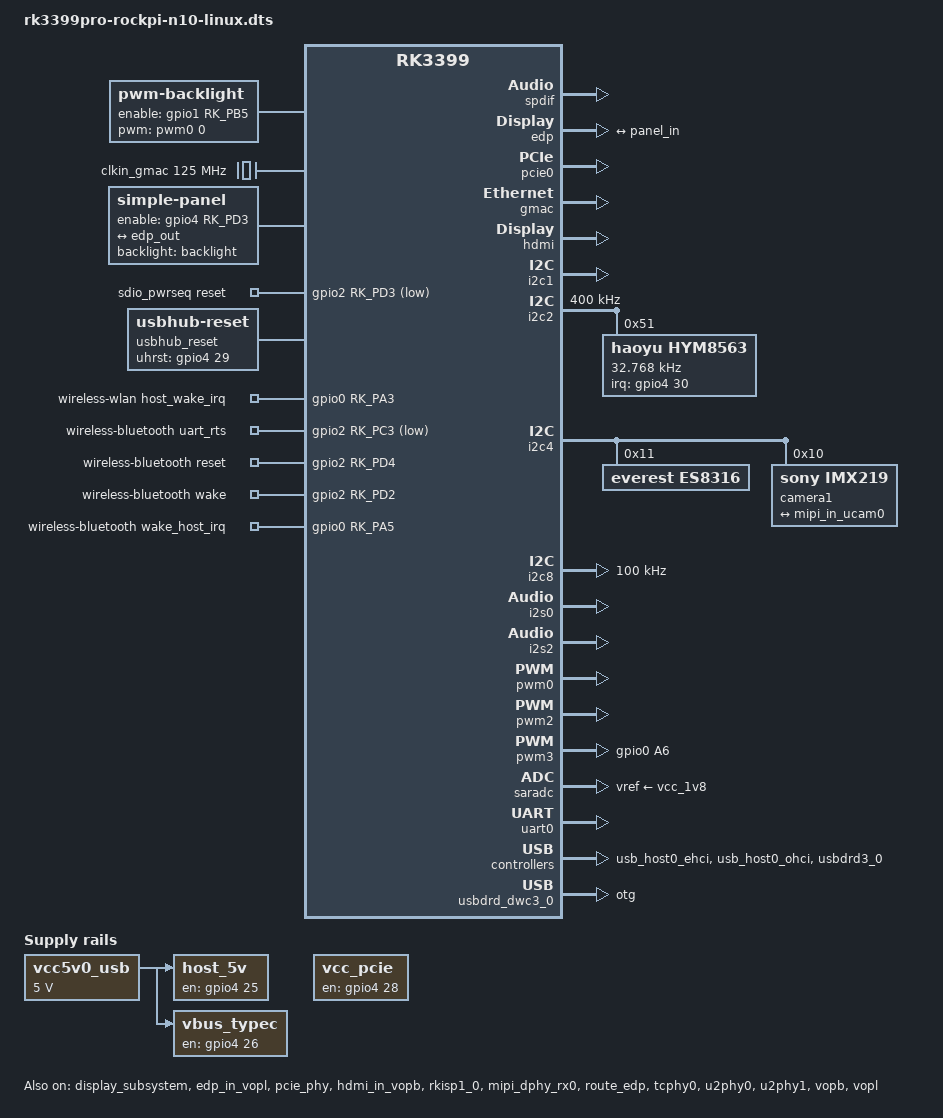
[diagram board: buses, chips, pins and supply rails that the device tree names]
// SPDX-License-Identifier: (GPL-2.0+ OR MIT)
// Copyright (c) 2018 Fuzhou Rockchip Electronics Co., Ltd

/dts-v1/;
#include "rk3399pro-vmarc-som.dtsi"
#include "rk3399-linux.dtsi"

/ {
	compatible = "rockchip,rk3399pro-ficus2-linux", "rockchip,rk3399pro";
	/delete-node/ chosen;

	backlight: backlight {
		status = "okay";
		compatible = "pwm-backlight";
		pwms = <&pwm0 0 25000 0>;
		brightness-levels = <
			  0  20  20  21  21  22  22  23
			 23  24  24  25  25  26  26  27
			 27  28  28  29  29  30  30  31
			 31  32  32  33  33  34  34  35
			 35  36  36  37  37  38  38  39
			 40  41  42  43  44  45  46  47
			 48  49  50  51  52  53  54  55
			 56  57  58  59  60  61  62  63
			 64  65  66  67  68  69  70  71
			 72  73  74  75  76  77  78  79
			 80  81  82  83  84  85  86  87
			 88  89  90  91  92  93  94  95
			 96  97  98  99 100 101 102 103
			104 105 106 107 108 109 110 111
			112 113 114 115 116 117 118 119
			120 121 122 123 124 125 126 127
			128 129 130 131 132 133 134 135
			136 137 138 139 140 141 142 143
			144 145 146 147 148 149 150 151
			152 153 154 155 156 157 158 159
			160 161 162 163 164 165 166 167
			168 169 170 171 172 173 174 175
			176 177 178 179 180 181 182 183
			184 185 186 187 188 189 190 191
			192 193 194 195 196 197 198 199
			200 201 202 203 204 205 206 207
			208 209 210 211 212 213 214 215
			216 217 218 219 220 221 222 223
			224 225 226 227 228 229 230 231
			232 233 234 235 236 237 238 239
			240 241 242 243 244 245 246 247
			248 249 250 251 252 253 254 255
		>;
		default-brightness-level = <10>;
		pinctrl-names = "default";
		pinctrl-0 = <&bl_en>;
		enable-gpios = <&gpio1 RK_PB5 GPIO_ACTIVE_HIGH>;
	};

	clkin_gmac: external-gmac-clock {
		compatible = "fixed-clock";
		clock-frequency = <125000000>;
		clock-output-names = "clkin_gmac";
		#clock-cells = <0>;
	};

	fiq_debugger: fiq-debugger {
		compatible = "rockchip,fiq-debugger";
		rockchip,serial-id = <2>;
		rockchip,wake-irq = <0>;
		rockchip,irq-mode-enable = <0>;  /* If enable uart uses irq instead of fiq */
		rockchip,baudrate = <1500000>;  /* Only 115200 and 1500000 */
		pinctrl-names = "default";
		pinctrl-0 = <&uart2c_xfer>;
		interrupts = <GIC_SPI 150 IRQ_TYPE_LEVEL_HIGH 0>;
	};

	panel: panel {
		compatible = "simple-panel";
		backlight = <&backlight>;
		enable-gpios = <&gpio4 RK_PD3 GPIO_ACTIVE_HIGH>;
		prepare-delay-ms = <100>;
		enable-delay-ms = <100>;
		reset-delay-ms = <100>;

		display-timings {
			native-mode = <&timing0>;

			timing0: timing0 {
				clock-frequency = <65000000>;
				hactive = <1280>;
				vactive = <800>;
				hfront-porch = <28>;
				hsync-len = <16>;
				hback-porch = <16>;
				vfront-porch = <6>;
				vsync-len = <2>;
				vback-porch = <4>;
				hsync-active = <0>;
				vsync-active = <0>;
				de-active = <0>;
				pixelclk-active = <0>;
			};
		};

		ports {
			panel_in: endpoint {
				remote-endpoint = <&edp_out>;
			};
		};
	};

	es8316-sound {
		status = "okay";
		compatible = "simple-audio-card";
		simple-audio-card,format = "i2s";
		simple-audio-card,name = "rockchip,es8316-codec";
		simple-audio-card,mclk-fs = <256>;
		simple-audio-card,widgets =
			"Microphone", "Mic Jack",
			"Headphone", "Headphone Jack";
		simple-audio-card,routing =
			"Mic Jack", "MICBIAS1",
			"IN1P", "Mic Jack",
			"Headphone Jack", "HPOL",
			"Headphone Jack", "HPOR";
		simple-audio-card,cpu {
			sound-dai = <&i2s0>;
		};
		simple-audio-card,codec {
			sound-dai = <&es8316>;
		};
	};

	hdmi_codec: hdmi-codec {
		status = "okay";
		compatible = "simple-audio-card";
		simple-audio-card,format = "i2s";
		simple-audio-card,mclk-fs = <256>;
		simple-audio-card,name = "HDMI-CODEC";

		simple-audio-card,cpu {
			sound-dai = <&i2s2>;
		};

		simple-audio-card,codec {
			sound-dai = <&hdmi>;
		};
	};

	sdio_pwrseq: sdio-pwrseq {
		status = "okay";
		compatible = "mmc-pwrseq-simple";
		clocks = <&rk809 1>;
		clock-names = "ext_clock";
		pinctrl-names = "default";
		pinctrl-0 = <&wifi_enable_h>;

		/*
		 * On the module itself this is one of these (depending
		 * on the actual card populated):
		 * - SDIO_RESET_L_WL_REG_ON
		 * - PDN (power down when low)
		 */
		reset-gpios = <&gpio2 RK_PD3 GPIO_ACTIVE_LOW>;
	};

	vcc5v0_usb: vcc5v0-usb {
		compatible = "regulator-fixed";
		regulator-name = "vcc5v0_usb";
		regulator-always-on;
		regulator-boot-on;
		regulator-min-microvolt = <5000000>;
		regulator-max-microvolt = <5000000>;
	};

	usbhub_reset: usbhub-reset {
		compatible = "usbhub-reset";
		uhrst-gpio = <&gpio4 29 GPIO_ACTIVE_HIGH>;
	};

	host_5v: host-5v {
		compatible = "regulator-fixed";
		enable-active-high;
		gpio = <&gpio4 25 GPIO_ACTIVE_HIGH>;
		pinctrl-names = "default";
		pinctrl-0 = <&usb1_en_oc>;
		regulator-name = "host_5v";
		regulator-always-on;
		regulator-boot-on;
		vin-supply = <&vcc5v0_usb>;
	};

	vbus_typec: vbus-typec {
		compatible = "regulator-fixed";
		enable-active-high;
		gpio = <&gpio4 26 GPIO_ACTIVE_HIGH>;
		pinctrl-names = "default";
		pinctrl-0 = <&usb0_en_oc>;
		regulator-name = "vbus_typec";
		regulator-always-on;
		regulator-boot-on;
		vin-supply = <&vcc5v0_usb>;
	};

	vcc_pcie: vcc-pcie-regulator {
		compatible = "regulator-fixed";
		enable-active-high;
		gpio = <&gpio4 28 GPIO_ACTIVE_HIGH>;
		pinctrl-names = "default";
		pinctrl-0 = <&pcie_pwr>;
		regulator-name = "vcc_pcie";
		regulator-always-on;
		regulator-boot-on;
	};

	wireless-wlan {
		compatible = "wlan-platdata";
		rockchip,grf = <&grf>;
		wifi_chip_type = "ap6256";
		sdio_vref = <1800>;
		WIFI,host_wake_irq = <&gpio0 RK_PA3 GPIO_ACTIVE_HIGH>;
		status = "okay";
	};

	wireless-bluetooth {
		compatible = "bluetooth-platdata";
		clocks = <&rk809 1>;
		clock-names = "ext_clock";
		uart_rts_gpios = <&gpio2 RK_PC3 GPIO_ACTIVE_LOW>;
		pinctrl-names = "default", "rts_gpio";
		pinctrl-0 = <&uart0_rts>;
		pinctrl-1 = <&uart0_gpios>;
		BT,reset_gpio    = <&gpio2 RK_PD4 GPIO_ACTIVE_HIGH>;
		BT,wake_gpio     = <&gpio2 RK_PD2 GPIO_ACTIVE_HIGH>;
		BT,wake_host_irq = <&gpio0 RK_PA5 GPIO_ACTIVE_HIGH>;
		status = "okay";
	};
};

&spdif {
	pinctrl-0 = <&spdif_bus>;
	status = "okay";
	#sound-dai-cells = <0>;
};

&display_subsystem {
	status = "okay";
};

&dp_in_vopb {
	status = "disabled";
};

&edp {
	status = "okay";
	force-hpd;

	ports {
		port@1 {
			reg = <1>;

			edp_out: endpoint {
				remote-endpoint = <&panel_in>;
			};
		};
	};
};

&edp_in_vopl {
	status = "okay";
};

&pcie_phy {
	status = "okay";
};

&pcie0 {
	ep-gpios = <&gpio0 RK_PB4 GPIO_ACTIVE_HIGH>;
	num-lines = <4>;
	pinctrl-names = "default";
	pinctrl-0 = <&pcie_clkreqnb>;
	status = "okay";
};

&gmac {
	status = "okay";
};

&hdmi {
	status = "okay";
	#address-cells = <1>;
	#size-cells = <0>;
	#sound-dai-cells = <0>;
//	rockchip,phy-table =
//		<74250000  0x8009 0x0004 0x0272>,
//		<165000000 0x802b 0x0004 0x0209>,
//		<297000000 0x8039 0x0005 0x028d>,
//		<594000000 0x8039 0x0000 0x00f6>,
//		<000000000 0x0000 0x0000 0x0000>;
};

&hdmi_in_vopb {
	status = "okay";
};

&hdmi_in_vopl {
	status = "disabled";
};

&i2c1 {
	status = "okay";
	i2c-scl-rising-time-ns = <140>;
	i2c-scl-falling-time-ns = <30>;
};

&rk809_rtc {
	status = "disabled";
};

&i2c2 {
	status = "okay";
	clock-frequency = <400000>;

	hym8563: hym8563@51 {
		compatible = "haoyu,hym8563";
		reg = <0x51>;
		#clock-cells = <0>;
		clock-frequency = <32768>;
		clock-output-names = "xin32k";
		pinctrl-names = "default";
		pinctrl-0 = <&hym8563_int>;
		interrupt-parent = <&gpio4>;
		interrupts = <30 IRQ_TYPE_LEVEL_LOW>;
	};
};

&i2c4 {
	status = "okay";
	i2c-scl-rising-time-ns = <300>;
	i2c-scl-falling-time-ns = <15>;

	es8316: es8316@11 {
		status = "okay";
		#sound-dai-cells = <0>;
		compatible = "everest,es8316";
		reg = <0x11>;
		clocks = <&cru SCLK_I2S_8CH_OUT>;
		clock-names = "mclk";
		pinctrl-names = "default";
		pinctrl-0 = <&i2s_8ch_mclk>;
	};

	camera1: camera-module@10 {
		status = "okay";
		compatible = "sony,imx219";
		reg = <0x10>;

		clocks = <&cru SCLK_CIF_OUT>;
		clock-names = "clk_cif_out";
		rockchip,camera-module-index = <0>;
		rockchip,camera-module-facing = "back";
		rockchip,camera-module-name = "imx219";
		rockchip,camera-module-lens-name = "none";

		port {
			ucam_out0: endpoint {
				remote-endpoint = <&mipi_in_ucam0>;
				data-lanes = <1 2>;
			};
		};
	};
};

&i2c8 {
	status = "okay";
	i2c-scl-rising-time-ns = <345>;
	i2c-scl-falling-time-ns = <11>;
	clock-frequency = <100000>;
};

&i2s0 {
	#sound-dai-cells = <0>;
	status = "okay";
};

&rk809_codec {
	status = "disabled";
};

&i2s1 {
	status = "disabled";
};

&i2s2 {
	#sound-dai-cells = <0>;
	status = "okay";
};

&isp0_mmu {
	status = "okay";
};

&pwm0 {
	status = "okay";
};

&pwm2 {
	status = "okay";
};

&pwm3 {
	status = "okay";
	pinctrl-names = "default";
	pinctrl-0 = <&pwm3a_pin>;
	interrupts = <GIC_SPI 61 IRQ_TYPE_LEVEL_HIGH 0>;
	compatible = "rockchip,remotectl-pwm";
	remote_pwm_id = <3>;
	handle_cpu_id = <1>;
	remote_support_psci = <1>;

	ir_key1 {
		rockchip,usercode = <0x4040>;
		rockchip,key_table =
			<0xf2	KEY_REPLY>,
			<0xba	KEY_BACK>,
			<0xf4	KEY_UP>,
			<0xf1	KEY_DOWN>,
			<0xef	KEY_LEFT>,
			<0xee	KEY_RIGHT>,
			<0xbd	KEY_HOME>,
			<0xea	KEY_VOLUMEUP>,
			<0xe3	KEY_VOLUMEDOWN>,
			<0xe2	KEY_SEARCH>,
			<0xb2	KEY_POWER>,
			<0xbc	KEY_MUTE>,
			<0xec	KEY_MENU>,
			<0xbf	0x190>,
			<0xe0	0x191>,
			<0xe1	0x192>,
			<0xe9	183>,
			<0xe6	248>,
			<0xe8	185>,
			<0xe7	186>,
			<0xf0	388>,
			<0xbe	0x175>;
	};

	ir_key2 {
		rockchip,usercode = <0xff00>;
		rockchip,key_table =
			<0xf9	KEY_HOME>,
			<0xbf	KEY_BACK>,
			<0xfb	KEY_MENU>,
			<0xaa	KEY_REPLY>,
			<0xb9	KEY_UP>,
			<0xe9	KEY_DOWN>,
			<0xb8	KEY_LEFT>,
			<0xea	KEY_RIGHT>,
			<0xeb	KEY_VOLUMEDOWN>,
			<0xef	KEY_VOLUMEUP>,
			<0xf7	KEY_MUTE>,
			<0xe7	KEY_POWER>,
			<0xfc	KEY_POWER>,
			<0xa9	KEY_VOLUMEDOWN>,
			<0xa8	KEY_VOLUMEDOWN>,
			<0xe0	KEY_VOLUMEDOWN>,
			<0xa5	KEY_VOLUMEDOWN>,
			<0xab	183>,
			<0xb7	388>,
			<0xf8	184>,
			<0xaf	185>,
			<0xed	KEY_VOLUMEDOWN>,
			<0xee	186>,
			<0xb3	KEY_VOLUMEDOWN>,
			<0xf1	KEY_VOLUMEDOWN>,
			<0xf2	KEY_VOLUMEDOWN>,
			<0xf3	KEY_SEARCH>,
			<0xb4	KEY_VOLUMEDOWN>,
			<0xbe	KEY_SEARCH>;
	};

	ir_key3 {
		rockchip,usercode = <0x1dcc>;
		rockchip,key_table =
			<0xee	KEY_REPLY>,
			<0xf0	KEY_BACK>,
			<0xf8	KEY_UP>,
			<0xbb	KEY_DOWN>,
			<0xef	KEY_LEFT>,
			<0xed	KEY_RIGHT>,
			<0xfc	KEY_HOME>,
			<0xf1	KEY_VOLUMEUP>,
			<0xfd	KEY_VOLUMEDOWN>,
			<0xb7	KEY_SEARCH>,
			<0xff	KEY_POWER>,
			<0xf3	KEY_MUTE>,
			<0xbf	KEY_MENU>,
			<0xf9	0x191>,
			<0xf5	0x192>,
			<0xb3	388>,
			<0xbe	KEY_1>,
			<0xba	KEY_2>,
			<0xb2	KEY_3>,
			<0xbd	KEY_4>,
			<0xf9	KEY_5>,
			<0xb1	KEY_6>,
			<0xfc	KEY_7>,
			<0xf8	KEY_8>,
			<0xb0	KEY_9>,
			<0xb6	KEY_0>,
			<0xb5	KEY_BACKSPACE>;
	};
};

&rkisp1_0 {
	status = "okay";
	port {
		#address-cells = <1>;
		#size-cells = <0>;

		isp0_mipi_in: endpoint@0 {
			reg = <0>;
			remote-endpoint = <&dphy_rx0_out>;
		};
	};
};

&mipi_dphy_rx0 {
	status = "okay";

	ports {
		#address-cells = <1>;
		#size-cells = <0>;

		port@0 {
			reg = <0>;
			#address-cells = <1>;
			#size-cells = <0>;

			mipi_in_ucam0: endpoint@1 {
				reg = <1>;
				remote-endpoint = <&ucam_out0>;
				data-lanes = <1 2>;
			};
		};

		port@1 {
			reg = <1>;
			#address-cells = <1>;
			#size-cells = <0>;

			dphy_rx0_out: endpoint@0 {
				reg = <0>;
				remote-endpoint = <&isp0_mipi_in>;
			};
		};
	};
};

&route_edp {
	status = "okay";
};

&saradc {
	status = "okay";
	vref-supply = <&vcc_1v8>;
};

&sdmmc {
	sd-uhs-sdr12;
	sd-uhs-sdr25;
	sd-uhs-sdr50;
	sd-uhs-sdr104;
};

&uart0 {
	pinctrl-names = "default";
	pinctrl-0 = <&uart0_xfer &uart0_cts>;
	status = "okay";
};

&tcphy0 {
	status = "okay";
};

&u2phy0 {
	status = "okay";
	enable-active-high;
	gpio = <&gpio4 25 GPIO_ACTIVE_HIGH>;

	u2phy0_otg: otg-port {
		status = "okay";
	};

	u2phy0_host: host-port {
		phy-supply = <&host_5v>;
		status = "okay";
	};
};

&u2phy1 {
	status = "okay";
	enable-active-high;
	gpio = <&gpio4 25 GPIO_ACTIVE_HIGH>;

	u2phy1_host: host-port {
		phy-supply = <&host_5v>;
		status = "okay";
	};
};

&uart0 {
	pinctrl-names = "default";
	pinctrl-0 = <&uart0_xfer &uart0_cts>;
	status = "okay";
};

&usb_host0_ehci {
	status = "okay";
};

&usb_host0_ohci {
	status = "okay";
};

&usbdrd3_0 {
	extcon = <&u2phy0>;
	status = "okay";
};


&usbdrd_dwc3_0 {
	dr_mode = "otg";
	status = "okay";
};

&vopb {
	status = "okay";
};

&vopb_mmu {
	status = "okay";
};

&vopl {
	status = "okay";
};

&vopl_mmu {
	status = "okay";
};


&pinctrl {
	bq2570 {
		charger_ok_int: charger-ok-int {
			rockchip,pins =
				<1 RK_PA1 0 &pcfg_pull_up>;
			};
	};

	fusb30x {
		fusb0_int: fusb0-int {
			rockchip,pins =
				<1 RK_PA2 0 &pcfg_pull_up>;
			};
	};

	hym8563 {
		hym8563_int: hym8563-int {
			rockchip,pins =
				<4 RK_PD6 0 &pcfg_pull_up>;
		};
	};
//	headphone {
//		hp_det: hp-det {
//			rockchip,pins =
//				<0 RK_PB5 0 &pcfg_pull_up>;
//		};
//	};

	lcd_rst {
		lcd_rst_gpio: lcd-rst-gpio {
			rockchip,pins =
				<3 RK_PA4 0 &pcfg_pull_none>;
		};
	};

	sdio-pwrseq {
		wifi_enable_h: wifi-enable-h {
			rockchip,pins =
				<2 RK_PD3 0 &pcfg_pull_none>;
		};
	};

	host_5v {
		usb1_en_oc: usb1-en-oc {
			rockchip,pins =
				<4 25 RK_FUNC_GPIO &pcfg_pull_up_10ma>;
		};
	};

	vbus_typec {
		usb0_en_oc: usb0-en-oc {
			rockchip,pins =
				<4 26 RK_FUNC_GPIO &pcfg_pull_up_10ma>;
		};
	};

	pcie {
		pcie_pwr: pcie-pwr{
			rockchip,pins =
				<4 28 RK_FUNC_GPIO &pcfg_pull_up>;
		};
	};

	sdmmc {
		sdmmc_bus1: sdmmc-bus1 {
			rockchip,pins =
				<4 8 RK_FUNC_1 &pcfg_pull_up_10ma>;
		};

		sdmmc_bus4: sdmmc-bus4 {
			rockchip,pins =
				<4 8 RK_FUNC_1 &pcfg_pull_up_10ma>,
				<4 9 RK_FUNC_1 &pcfg_pull_up_10ma>,
				<4 10 RK_FUNC_1 &pcfg_pull_up_10ma>,
				<4 11 RK_FUNC_1 &pcfg_pull_up_10ma>;
		};

		sdmmc_clk: sdmmc-clk {
			rockchip,pins =
				<4 12 RK_FUNC_1 &pcfg_pull_none_10ma>;
		};

		sdmmc_cmd: sdmmc-cmd {
			rockchip,pins =
				<4 13 RK_FUNC_1 &pcfg_pull_up_10ma>;
		};
	};

	tp_irq {
		tp_irq_gpio: tp-irq-gpio {
			rockchip,pins =
				<3 RK_PB0 0 &pcfg_pull_up>;
		};
	};

	wireless-bluetooth {
		uart0_gpios: uart0-gpios {
			rockchip,pins =
				<2 RK_PC3 0 &pcfg_pull_none>;
		};
	};

	pwm3a {
		pwm3a_pin: pwm3a-pin {
			rockchip,pins =
				<0 RK_PA6 RK_FUNC_1 &pcfg_pull_none>;
		};
	};

	backlight {
		bl_en: bl-en {
			rockchip,pins =
				<1 13 RK_FUNC_GPIO &pcfg_pull_none>;// eDP
		};
	};
};

/* DON'T PUT ANYTHING BELOW HERE.  PUT IT ABOVE PINCTRL */
/* DON'T PUT ANYTHING BELOW HERE.  PUT IT ABOVE PINCTRL */
/* DON'T PUT ANYTHING BELOW HERE.  PUT IT ABOVE PINCTRL */
